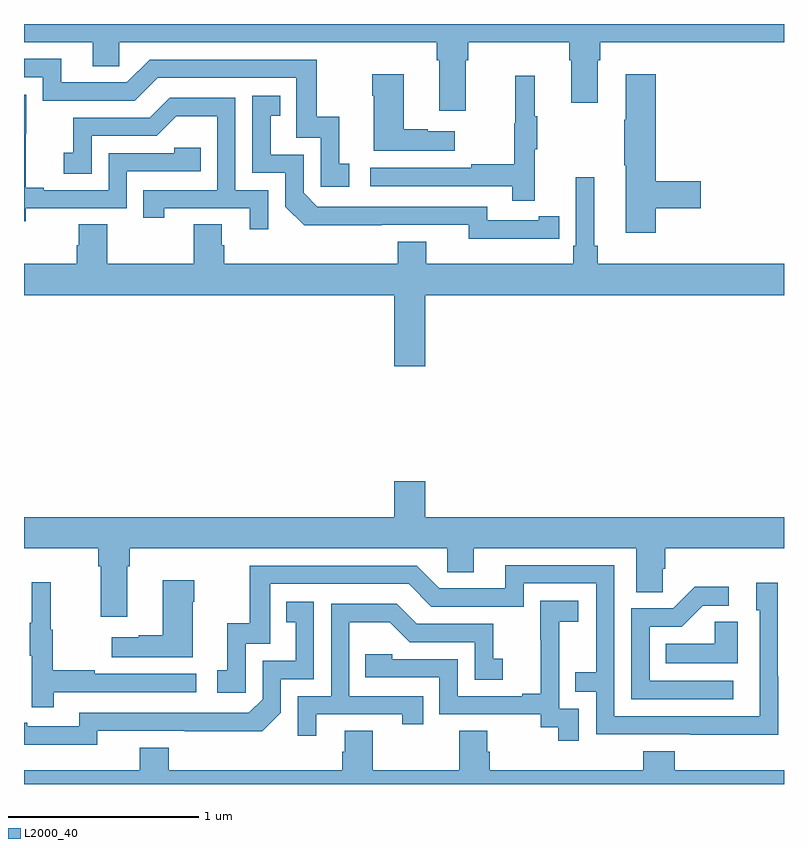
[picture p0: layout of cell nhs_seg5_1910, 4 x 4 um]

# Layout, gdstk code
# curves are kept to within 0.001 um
import gdstk
lib = gdstk.Library(unit=1e-6, precision=1e-09)
def P(c, l, *ps):  # polygons
    for p in ps: c.add(gdstk.Polygon(p, *l))
L2000_40 = (2000, 40)

nhs_seg5_1910 = lib.new_cell('nhs_seg5_1910')
P(nhs_seg5_1910, L2000_40, [(223,912.704),(223.361,912.704),(223.361,912.577),(223.5,912.577),(223.5,912.704),(225.173,912.704),(225.173,912.608),(225.185,912.608),(225.185,912.342),(225.325,912.342),(225.325,912.608),(225.338,912.608),(225.338,912.704),(225.869,912.704),(225.869,912.608),(225.881,912.608),(225.881,912.384),(226.021,912.384),(226.021,912.608),(226.034,912.608),(226.034,912.704),(227,912.704),(227,912.799),(223,912.799)],
  [(224.713,912.063),(224.66,912.063),(224.66,912.31),(224.542,912.31),(224.542,912.612),(223.662,912.612),(223.542,912.492),(223.195,912.492),(223.195,912.615),(223,912.615),(223,912.519),(223.098,912.519),(223.098,912.396),(223.584,912.396),(223.704,912.516),(224.433,912.516),(224.433,912.201),(224.562,912.201),(224.562,911.943),(224.713,911.943)],
  [(225.268,912.235),(225.125,912.235),(225.125,912.245),(224.998,912.245),(224.998,912.535),(224.833,912.535),(224.833,912.422),(224.84,912.422),(224.84,912.131),(225.268,912.131)],
  [(226.325,911.83),(226.561,911.83),(226.561,911.972),(226.325,911.972),(226.325,912.535),(226.166,912.535),(226.166,912.296),(226.159,912.296),(226.159,912.055),(226.166,912.055),(226.166,911.7),(226.325,911.7)],
  [(225.689,912.139),(225.7,912.139),(225.7,912.313),(225.689,912.313),(225.689,912.526),(225.586,912.526),(225.586,912.276),(225.579,912.276),(225.579,912.062),(225.355,912.062),(225.355,912.042),(224.823,912.042),(224.823,911.946),(225.571,911.946),(225.571,911.868),(225.689,911.868)],
  [(223.008,911.829),(223.542,911.829),(223.542,912.024),(223.931,912.024),(223.931,912.147),(223.791,912.147),(223.791,912.12),(223.446,912.12),(223.446,911.925),(223.105,911.925),(223.105,911.938),(223.01,911.938),(223.01,912.221),(223.011,912.221),(223.011,912.427),(223,912.427),(223,911.761),(223.008,911.761)],
  [(225.71,911.67),(225.818,911.67),(225.818,911.786),(225.71,911.786),(225.71,911.766),(225.438,911.766),(225.438,911.838),(224.544,911.838),(224.472,911.91),(224.472,912.111),(224.299,912.111),(224.299,912.315),(224.348,912.315),(224.348,912.421),(224.202,912.421),(224.202,912.015),(224.376,912.015),(224.376,911.838),(224.474,911.741),(225.342,911.742),(225.342,911.669)],
  [(224.286,911.925),(224.112,911.925),(224.112,912.411),(223.766,912.411),(223.661,912.306),(223.258,912.306),(223.258,912.121),(223.209,912.121),(223.209,912.012),(223.356,912.012),(223.356,912.21),(223.698,912.21),(223.802,912.314),(224.016,912.314),(224.016,911.925),(223.627,911.925),(223.627,911.778),(223.738,911.778),(223.738,911.829),(224.189,911.829),(224.189,911.718),(224.286,911.718)],
  [(225.112,911.372),(227,911.372),(227,911.536),(226.019,911.536),(226.019,911.632),(226,911.632),(226,911.992),(225.903,911.992),(225.903,911.632),(225.89,911.632),(225.89,911.536),(225.118,911.536),(225.118,911.653),(224.966,911.653),(224.966,911.536),(224.054,911.536),(224.054,911.634),(224.041,911.634),(224.041,911.744),(223.894,911.744),(223.894,911.536),(223.437,911.536),(223.437,911.744),(223.289,911.744),(223.289,911.634),(223.277,911.634),(223.277,911.536),(223,911.536),(223,911.372),(224.948,911.372),(224.948,910.998),(225.112,910.998)],
  [(223.543,909.944),(223.556,909.944),(223.556,910.04),(225.228,910.04),(225.228,909.913),(225.367,909.913),(225.367,910.04),(226.223,910.04),(226.223,909.808),(226.362,909.808),(226.362,909.931),(226.376,909.931),(226.376,910.04),(227,910.04),(227,910.204),(225.112,910.204),(225.112,910.393),(224.948,910.393),(224.948,910.204),(223,910.204),(223,910.04),(223.391,910.04),(223.391,909.944),(223.403,909.944),(223.403,909.678),(223.543,909.678)],
  [(226.971,909.365),(226.968,909.365),(226.968,909.859),(226.853,909.859),(226.853,909.714),(226.872,909.714),(226.872,909.156),(226.107,909.156),(226.107,909.951),(225.533,909.951),(225.533,909.828),(225.186,909.828),(225.066,909.948),(224.187,909.948),(224.187,909.646),(224.069,909.646),(224.069,909.399),(224.016,909.399),(224.016,909.279),(224.166,909.279),(224.166,909.537),(224.295,909.537),(224.295,909.852),(225.024,909.852),(225.144,909.732),(225.63,909.732),(225.63,909.855),(226.011,909.855),(226.011,909.386),(225.901,909.386),(225.901,909.285),(226.011,909.285),(226.011,909.06),(226.971,909.059)],
  [(223.888,909.758),(223.896,909.758),(223.896,909.871),(223.73,909.871),(223.73,909.581),(223.604,909.581),(223.604,909.571),(223.461,909.571),(223.461,909.467),(223.888,909.467)],
  [(223.157,909.282),(223.906,909.282),(223.906,909.378),(223.373,909.378),(223.373,909.398),(223.15,909.398),(223.15,909.612),(223.142,909.612),(223.142,909.862),(223.04,909.862),(223.04,909.649),(223.029,909.649),(223.029,909.475),(223.04,909.475),(223.04,909.204),(223.157,909.204)],
  [(226.732,909.342),(226.293,909.342),(226.293,909.627),(226.462,909.627),(226.573,909.738),(226.708,909.738),(226.708,909.836),(226.529,909.836),(226.416,909.723),(226.197,909.723),(226.197,909.246),(226.732,909.246)],
  [(225.921,909.195),(225.816,909.195),(225.816,909.425),(225.818,909.425),(225.818,909.653),(225.916,909.653),(225.916,909.763),(225.718,909.763),(225.718,909.557),(225.719,909.557),(225.719,909.274),(225.623,909.274),(225.623,909.261),(225.282,909.261),(225.282,909.456),(224.937,909.456),(224.937,909.483),(224.797,909.483),(224.797,909.36),(225.186,909.36),(225.186,909.165),(225.72,909.165),(225.72,909.097),(225.813,909.097),(225.813,909.027),(225.921,909.027)],
  [(223.386,909.078),(224.254,909.077),(224.352,909.174),(224.352,909.351),(224.526,909.351),(224.526,909.757),(224.38,909.757),(224.38,909.651),(224.429,909.651),(224.429,909.447),(224.256,909.447),(224.256,909.246),(224.184,909.174),(223.29,909.174),(223.29,909.102),(223.018,909.102),(223.018,909.122),(223,909.122),(223,909.006),(223.386,909.005)],
  [(224.539,909.165),(224.99,909.165),(224.99,909.114),(225.101,909.114),(225.101,909.261),(224.712,909.261),(224.712,909.65),(224.926,909.65),(225.03,909.546),(225.372,909.546),(225.372,909.348),(225.52,909.348),(225.52,909.457),(225.471,909.457),(225.471,909.642),(225.067,909.642),(224.962,909.747),(224.616,909.747),(224.616,909.261),(224.442,909.261),(224.442,909.054),(224.539,909.054)],
  [(226.756,909.653),(226.635,909.653),(226.635,909.538),(226.378,909.538),(226.378,909.434),(226.756,909.434)],
  [(227,908.872),(226.424,908.872),(226.424,908.971),(226.259,908.971),(226.259,908.872),(225.452,908.872),(225.452,908.97),(225.439,908.97),(225.439,909.08),(225.292,909.08),(225.292,908.872),(224.835,908.872),(224.835,909.08),(224.687,909.08),(224.687,908.97),(224.675,908.97),(224.675,908.872),(223.763,908.872),(223.763,908.989),(223.61,908.989),(223.61,908.872),(223,908.872),(223,908.799),(227,908.799)])

lib.write_gds('nhs_seg5_1910.gds')
